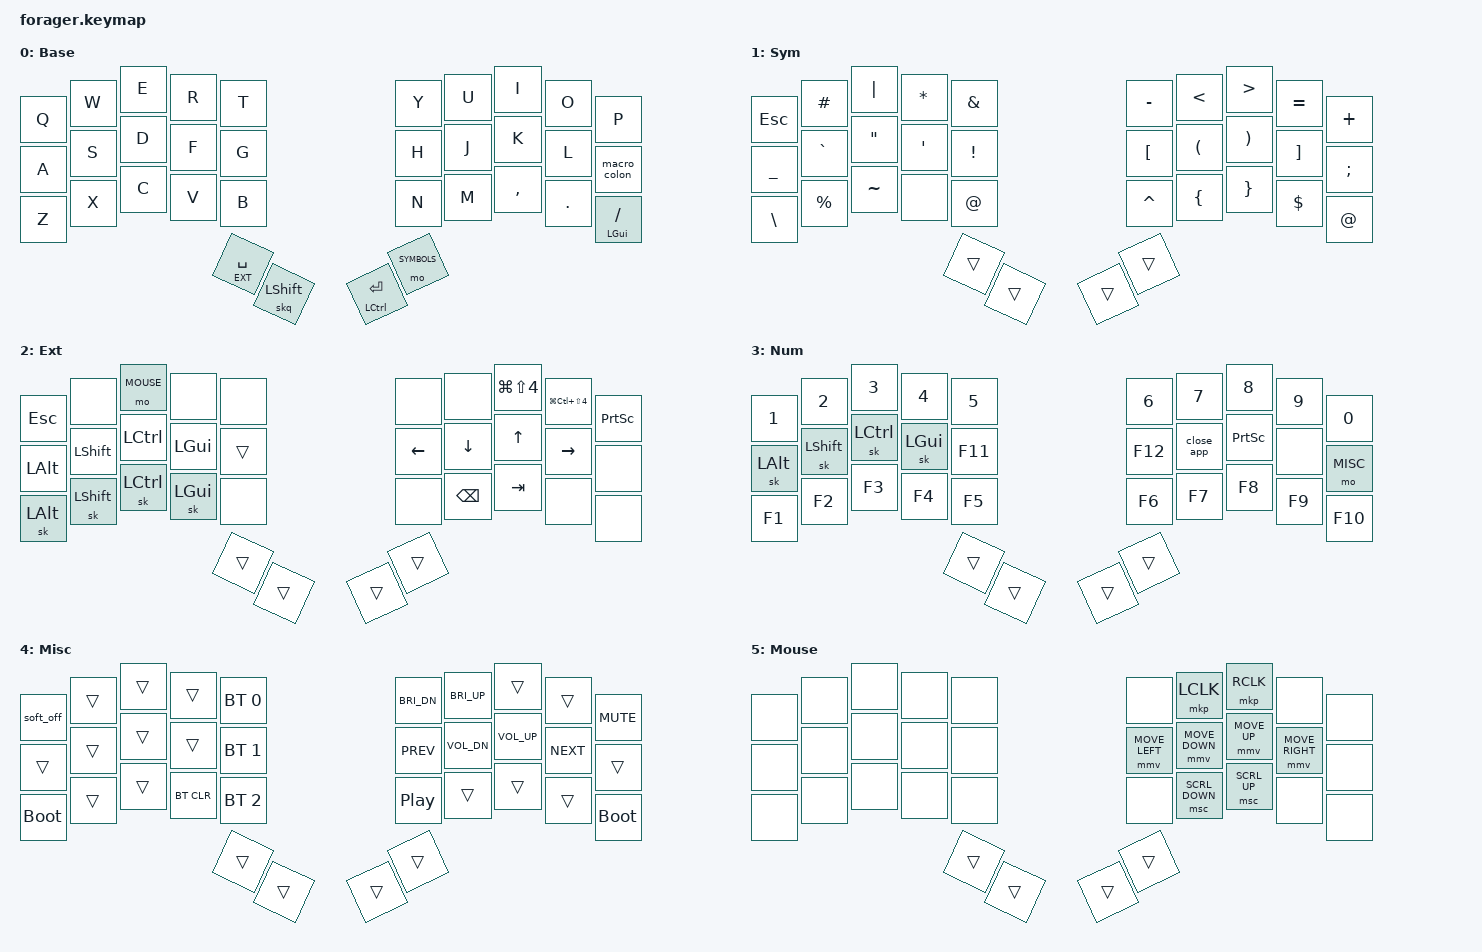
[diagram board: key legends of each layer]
// Copyright (c) 2022 The ZMK Contributors
// SPDX-License-Identifier: MIT

#define ZMK_POINTING_DEFAULT_SCRL_VAL 20

#include <behaviors.dtsi>
#include <dt-bindings/zmk/keys.h>
#include <dt-bindings/zmk/bt.h>
#include <dt-bindings/zmk/pointing.h>

#define BASE    0
#define SYMBOLS 1
#define EXT     2
#define NUMBERS 3
#define MISC    4
#define MOUSE   5

// macOS screenshot: crosshair, drag to select a region.
// MAC_SNIP copies the selection to the clipboard (Cmd+Ctrl+Shift+4),
// MAC_SNIP_FILE saves it to a file (Cmd+Shift+4).
// Sit next to PSCRN so either can be used depending on the machine.
#define MAC_SNIP      LG(LC(LS(N4)))
#define MAC_SNIP_FILE LG(LS(N4))

&sk {
    release-after-ms = <2000>;
    ignore-modifiers;
};

&mt {
    tapping-term-ms = <220>;
    quick-tap-ms = <150>;
};

/ {
    behaviors {
        ht: hold_tap {
            compatible = "zmk,behavior-hold-tap";
            #binding-cells = <2>;
            flavor = "tap-preferred";
            tapping-term-ms = <220>;
            quick-tap-ms = <150>;
            require-prior-idle-ms = <100>;
            bindings = <&kp>, <&kp>;
        };

        skq: sticky_key_quick_release {
            compatible = "zmk,behavior-sticky-key";
            label = "STICKY_KEY_QUICK_RELEASE";
            #binding-cells = <1>;
            bindings = <&kp>;
            release-after-ms = <1000>;
            quick-release;
        };
    };

    macros {
        close_app: close_app {
            compatible = "zmk,behavior-macro";
            #binding-cells = <0>;
            bindings
                = <&macro_press &kp LALT>
                , <&macro_tap &kp F4>
                , <&macro_release &kp LALT>
                ;
        };

        macro_colon: macro_colon {
            compatible = "zmk,behavior-macro";
            label = "Macro Colon";
            #binding-cells = <0>;
            bindings = <&kp COLON>;
            wait-ms = <0>;
            tap-ms = <10>;
        };
    };

    conditional_layers {
        compatible = "zmk,conditional-layers";
        tri_layer {
            if-layers = <SYMBOLS EXT>;
            then-layer = <NUMBERS>;
        };
    };

    combos {
        compatible = "zmk,combos";
        combo_esc {
            timeout-ms = <50>;
            key-positions = <0 1>;
            bindings = <&kp ESC>;
        };
    };

    keymap {
        compatible = "zmk,keymap";

        default_layer {
            display-name = "Base";
            bindings = <
        //╭──────────┬──────────┬──────────┬──────────┬──────────╮   ╭──────────┬──────────┬──────────┬──────────┬──────────╮
            &kp Q      &kp W      &kp E      &kp R      &kp T          &kp Y      &kp U      &kp I      &kp O      &kp P
        //├──────────┼──────────┼──────────┼──────────┼──────────┤   ├──────────┼──────────┼──────────┼──────────┼──────────┤
            &kp A      &kp S      &kp D      &kp F      &kp G          &kp H      &kp J      &kp K      &kp L      &macro_colon
        //├──────────┼──────────┼──────────┼──────────┼──────────┤   ├──────────┼──────────┼──────────┼──────────┼──────────┤
            &kp Z      &kp X      &kp C      &kp V      &kp B          &kp N      &kp M      &kp COMMA  &kp DOT    &ht LGUI FSLH
        //╰──────────┴──────────┴──────────┼──────────┼──────────┤   ├──────────┼──────────┼──────────┴──────────┴──────────╯
                                             &lt EXT SPACE &skq LSHFT  &mt LCTRL ENTER &mo SYMBOLS
        //                                 ╰──────────┴──────────╯   ╰──────────┴──────────╯
            >;
        };

        symbols {
            display-name = "Sym";
            bindings = <
        //╭──────────┬──────────┬──────────┬──────────┬──────────╮   ╭──────────┬──────────┬──────────┬──────────┬──────────╮
            &kp ESC    &kp HASH   &kp PIPE   &kp STAR   &kp AMPS       &kp MINUS  &kp LT     &kp GT     &kp EQUAL  &kp PLUS
        //├──────────┼──────────┼──────────┼──────────┼──────────┤   ├──────────┼──────────┼──────────┼──────────┼──────────┤
            &kp UNDER  &kp GRAVE  &kp DQT    &kp SQT    &kp EXCL       &kp LBKT   &kp LPAR   &kp RPAR   &kp RBKT   &kp SEMI
        //├──────────┼──────────┼──────────┼──────────┼──────────┤   ├──────────┼──────────┼──────────┼──────────┼──────────┤
            &kp BSLH   &kp PRCNT  &kp TILDE  &none      &kp AT         &kp CARET  &kp LBRC   &kp RBRC   &kp DLLR   &kp AT
        //╰──────────┴──────────┴──────────┼──────────┼──────────┤   ├──────────┼──────────┼──────────┴──────────┴──────────╯
                                             &trans     &trans         &trans     &trans
        //                                 ╰──────────┴──────────╯   ╰──────────┴──────────╯
            >;
        };

        ext {
            display-name = "Ext";
            bindings = <
        //╭──────────┬──────────┬──────────┬──────────┬──────────╮   ╭──────────┬──────────┬──────────┬──────────┬──────────╮
            &kp ESC    &none      &mo MOUSE  &none      &none          &none      &none      &kp MAC_SNIP_FILE &kp MAC_SNIP &kp PSCRN
        //├──────────┼──────────┼──────────┼──────────┼──────────┤   ├──────────┼──────────┼──────────┼──────────┼──────────┤
            &kp LALT   &kp LSHFT  &kp LCTRL  &kp LGUI   &trans         &kp LEFT   &kp DOWN   &kp UP     &kp RIGHT  &none
        //├──────────┼──────────┼──────────┼──────────┼──────────┤   ├──────────┼──────────┼──────────┼──────────┼──────────┤
            &sk LALT   &sk LSHFT  &sk LCTRL  &sk LGUI   &none          &none      &kp BSPC   &kp TAB    &none      &none
        //╰──────────┴──────────┴──────────┼──────────┼──────────┤   ├──────────┼──────────┼──────────┴──────────┴──────────╯
                                             &trans     &trans         &trans     &trans
        //                                 ╰──────────┴──────────╯   ╰──────────┴──────────╯
            >;
        };

        numbers {
            display-name = "Num";
            bindings = <
        //╭──────────┬──────────┬──────────┬──────────┬──────────╮   ╭──────────┬──────────┬──────────┬──────────┬──────────╮
            &kp N1     &kp N2     &kp N3     &kp N4     &kp N5         &kp N6     &kp N7     &kp N8     &kp N9     &kp N0
        //├──────────┼──────────┼──────────┼──────────┼──────────┤   ├──────────┼──────────┼──────────┼──────────┼──────────┤
            &sk LALT   &sk LSHFT  &sk LCTRL  &sk LGUI   &kp F11        &kp F12    &close_app &kp PSCRN  &none      &mo MISC
        //├──────────┼──────────┼──────────┼──────────┼──────────┤   ├──────────┼──────────┼──────────┼──────────┼──────────┤
            &kp F1     &kp F2     &kp F3     &kp F4     &kp F5         &kp F6     &kp F7     &kp F8     &kp F9     &kp F10
        //╰──────────┴──────────┴──────────┼──────────┼──────────┤   ├──────────┼──────────┼──────────┴──────────┴──────────╯
                                             &trans     &trans         &trans     &trans
        //                                 ╰──────────┴──────────╯   ╰──────────┴──────────╯
            >;
        };

        misc {
            display-name = "Misc";
            bindings = <
        //╭──────────┬──────────┬──────────┬──────────┬──────────╮   ╭──────────┬──────────┬──────────┬──────────┬──────────╮
            &soft_off  &trans     &trans     &trans     &bt BT_SEL 0   &kp C_BRI_DN &kp C_BRI_UP &trans &trans     &kp C_MUTE
        //├──────────┼──────────┼──────────┼──────────┼──────────┤   ├──────────┼──────────┼──────────┼──────────┼──────────┤
            &trans     &trans     &trans     &trans     &bt BT_SEL 1   &kp C_PREV &kp C_VOL_DN &kp C_VOL_UP &kp C_NEXT &trans
        //├──────────┼──────────┼──────────┼──────────┼──────────┤   ├──────────┼──────────┼──────────┼──────────┼──────────┤
            &bootloader &trans    &trans     &bt BT_CLR &bt BT_SEL 2   &kp C_PP   &trans     &trans     &trans     &bootloader
        //╰──────────┴──────────┴──────────┼──────────┼──────────┤   ├──────────┼──────────┼──────────┴──────────┴──────────╯
                                             &trans     &trans         &trans     &trans
        //                                 ╰──────────┴──────────╯   ╰──────────┴──────────╯
            >;
        };

        mouse {
            display-name = "Mouse";
            bindings = <
        //╭──────────┬──────────┬──────────┬──────────┬──────────╮   ╭──────────┬──────────┬──────────┬──────────┬──────────╮
            &none      &none      &none      &none      &none          &none      &mkp LCLK  &mkp RCLK  &none      &none
        //├──────────┼──────────┼──────────┼──────────┼──────────┤   ├──────────┼──────────┼──────────┼──────────┼──────────┤
            &none      &none      &none      &none      &none          &mmv MOVE_LEFT &mmv MOVE_DOWN &mmv MOVE_UP &mmv MOVE_RIGHT &none
        //├──────────┼──────────┼──────────┼──────────┼──────────┤   ├──────────┼──────────┼──────────┼──────────┼──────────┤
            &none      &none      &none      &none      &none          &none      &msc SCRL_DOWN &msc SCRL_UP &none &none
        //╰──────────┴──────────┴──────────┼──────────┼──────────┤   ├──────────┼──────────┼──────────┴──────────┴──────────╯
                                             &trans     &trans         &trans     &trans
        //                                 ╰──────────┴──────────╯   ╰──────────┴──────────╯
            >;
        };
    };
};
